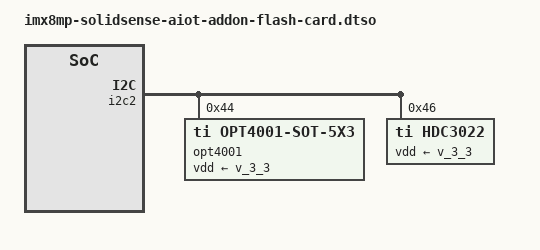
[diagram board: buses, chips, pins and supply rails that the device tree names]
// SPDX-License-Identifier: (GPL-2.0-only OR BSD-2-Clause)
/*
 * Device Tree overlay for the SolidRun SolidSense AIOT Flash Card (J6).
 *
 * Add-on card devices on carrier I2C2:
 *   - LM3645YCGR  Camera Flash LED driver  @ 0x65
 *   - OPT4001DTSR Ambient Light Sensor     @ 0x44
 *   - HDC3022DEJR Humidity/Temperature     @ 0x46
 *
 * Apply on top of imx8mp-solidsense-aiot.dtb.
 *
 * Copyright (C) 2026 SolidRun Ltd.
 */

/dts-v1/;
/plugin/;

#include <dt-bindings/gpio/gpio.h>
#include <dt-bindings/leds/common.h>

&i2c2 {
	#address-cells = <1>;
	#size-cells = <0>;

	/* OPT4001 Ambient Light Sensor */
	opt4001: light-sensor@44 {
		status = "okay";
		compatible = "ti,opt4001-sot-5x3";
		reg = <0x44>;
		vdd-supply = <&v_3_3>;
	};

	/* HDC3022 Humidity and Temperature Sensor */
	hdc3022: humidity-sensor@46 {
		status = "okay";
		compatible = "ti,hdc3022";
		reg = <0x46>;
		vdd-supply = <&v_3_3>;
	};

	/* LM3645 Camera Flash LED Driver */
	camera_flash: flash-led@65 {
		status = "disabled";
		compatible = "ti,lm3645";
		reg = <0x65>;  /* Default I2C address */

		#address-cells = <1>;
		#size-cells = <0>;

		/* Enable pin (HWEN) */
		enable-gpios = <&gpio4 23 GPIO_ACTIVE_HIGH>;
		/* Flash strobe pin */
		flash-gpios = <&gpio4 24 GPIO_ACTIVE_HIGH>;
		/* Torch pin (optional) */
		torch-gpios = <&gpio5 18 GPIO_ACTIVE_HIGH>;

		/* LED1 - Flash LED */
		led@0 {
			reg = <0>;
			function = LED_FUNCTION_FLASH;
			color = <LED_COLOR_ID_WHITE>;
			led-max-microamp = <1500000>;     /* 1.5A max flash current */
			flash-max-microamp = <1500000>;
			flash-max-timeout-us = <1024000>; /* Max 1024ms */
		};

		/* LED2 - Torch LED (optional) */
		led@1 {
			reg = <1>;
			function = LED_FUNCTION_TORCH;
			color = <LED_COLOR_ID_WHITE>;
			led-max-microamp = <376000>;      /* 376mA max torch current */
		};
	};
};
